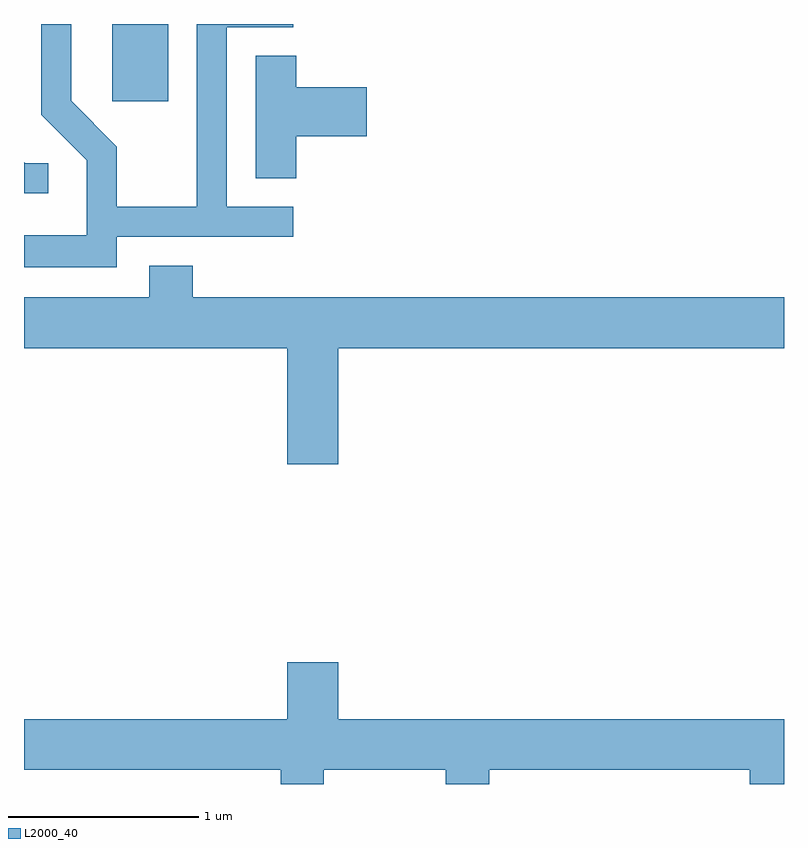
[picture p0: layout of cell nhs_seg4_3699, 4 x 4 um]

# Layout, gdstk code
import gdstk
lib = gdstk.Library(unit=1e-6, precision=1e-09)
def R(c, l, rs):  # rectangles x0, y0, x1, y1
    for r in rs: c.add(gdstk.rectangle(r[:2], r[2:], *l))
def P(c, l, *ps):  # polygons
    for p in ps: c.add(gdstk.Polygon(p, *l))
L2000_40 = (2000, 40)

nhs_seg4_3699 = lib.new_cell('nhs_seg4_3699')
R(nhs_seg4_3699, L2000_40, [(294.076,1311.576,294.369,1311.982)])
P(nhs_seg4_3699, L2000_40, [(294.099,1310.861),(295.028,1310.861),(295.028,1311.019),(294.679,1311.019),(294.679,1311.966),(295.028,1311.966),(295.028,1311.982),(294.521,1311.982),(294.521,1311.019),(294.099,1311.019),(294.099,1311.337),(293.859,1311.577),(293.859,1311.982),(293.701,1311.982),(293.701,1311.504),(293.941,1311.264),(293.941,1310.869),(293.611,1310.869),(293.611,1310.701),(294.099,1310.701)],
  [(295.044,1311.391),(295.414,1311.391),(295.414,1311.649),(295.044,1311.649),(295.044,1311.814),(294.831,1311.814),(294.831,1311.171),(295.044,1311.171)],
  [(293.738,1311.249),(293.617,1311.249),(293.611,1311.255),(293.611,1311.091),(293.738,1311.091)],
  [(295.264,1310.276),(297.611,1310.276),(297.611,1310.544),(294.499,1310.544),(294.499,1310.709),(294.271,1310.709),(294.271,1310.544),(293.611,1310.544),(293.611,1310.276),(294.996,1310.276),(294.996,1309.666),(295.264,1309.666)],
  [(295.189,1308.056),(295.831,1308.056),(295.831,1307.982),(296.059,1307.982),(296.059,1308.056),(297.431,1308.056),(297.431,1307.982),(297.611,1307.982),(297.611,1308.324),(295.264,1308.324),(295.264,1308.624),(294.996,1308.624),(294.996,1308.324),(293.611,1308.324),(293.611,1308.056),(294.961,1308.056),(294.961,1307.982),(295.189,1307.982)])

lib.write_gds('nhs_seg4_3699.gds')
